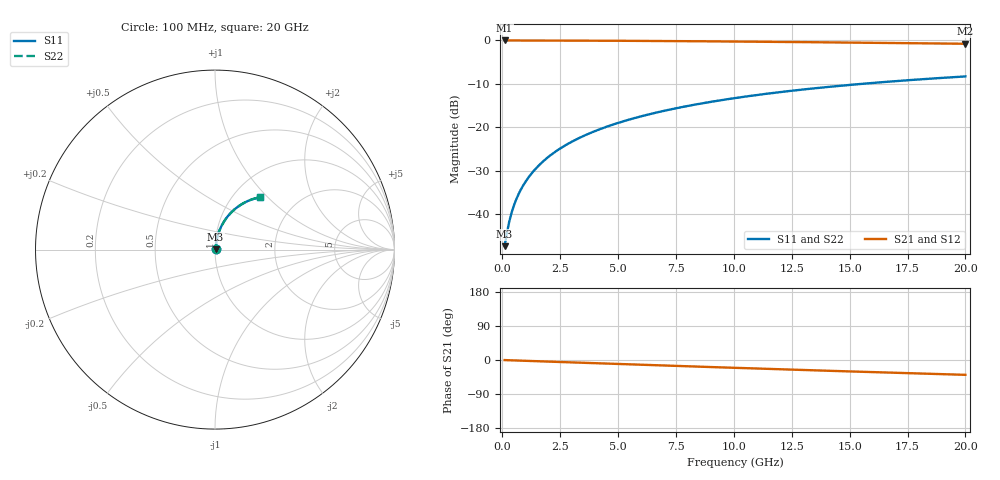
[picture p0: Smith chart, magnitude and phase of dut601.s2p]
! Touchstone file exported from HFSS 2026.1.0
!  File:  C:/ffzhzh/LocalFiles/Ansys_Project_Files/temp_train_BSMRDL_601_1783016065_46388.aedt
!  Generated:  02:15:50 AM Jul  3, 2026
!  Design:  BSMRDL
!  Project:  temp_train_BSMRDL_601_1783016065_46388
! Variables:
!  h_bsmrdl = 2.83um
!  h_ox = 20um
!  h_rdl = 5um
!  h_sub = 80um
!  h_tmrdl = 5um
!  h_tsv = 80um
!  h_via = 3um
!  l_bsmrdl = 543.29um
!  l_sub = 943.29um
!  l_tmrdl = 200um
!  m_sub = 200um
!  pitch = 48.88um
!  r_tsv = 6um
!  s_tmrdl = 10um
!  w_bsmrdl = 20.81um
!  w_sub = 500um
!  w_tmrdl = 12um
!  x_tsv_center1 = 206um
!  x_tsv_center2 = 770.1um
!  x_tsv_center3 = 982.1um
!  x_tsv_center4 = 1546.2um
!  x_tsv_center5 = 1758.2um
!  x_tsv_center6 = 2322.3um
# GHz S MA R 50.000000
! Terminal data exported
! Port[1] = BSM_RDL1_1_T1
! Port[2] = BSM_RDL1_1_T2
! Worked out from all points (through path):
!   200 points, 100 MHz to 20 GHz, reference 50 ohm
!   highest |S21| = -0.03 dB at 100 MHz (marker M1); lowest = -0.8 dB at 20 GHz (marker M2)
!   group delay of S21, straight-line fit = 5.45 ps
!   lowest |S11| = -47.4 dB at 100 MHz (marker M3), VSWR 1.01, Z = 50.4 + j0.248 ohm
!   |S11| at or under -10 dB: start of sweep to 15.57 GHz
!   |S22| runs from -47.4 to -8.3 dB; largest |S21 - S12| = 2.8e-15
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0.1  0.004281 35.1  0.9965 -0.2  0.9965 -0.2  0.004281 35.1
! Gamma 0 0 0 0
! Port Impedance 50 0 50 0
0.2  0.006087 53.3  0.9964 -0.4  0.9964 -0.4  0.006087 53.3
0.3  0.008186 62.2  0.9962 -0.7  0.9962 -0.7  0.008186 62.2
0.4  0.01036 67.2  0.9961 -0.9  0.9961 -0.9  0.01036 67.2
0.5  0.01254 70.4  0.9959 -1.1  0.9959 -1.1  0.01254 70.4
0.6  0.01473 72.6  0.9958 -1.3  0.9958 -1.3  0.01473 72.6
0.8  0.01912 75.5  0.9956 -1.7  0.9956 -1.7  0.01912 75.5
1.1  0.02574 77.8  0.9953 -2.3  0.9953 -2.3  0.02574 77.8
1.3  0.03017 78.7  0.9951 -2.8  0.9951 -2.8  0.03017 78.7
1.6  0.03685 79.5  0.9948 -3.4  0.9948 -3.4  0.03685 79.5
2.1  0.04801 80.0  0.9942 -4.4  0.9942 -4.4  0.04801 80.0
2.7  0.0614 79.8  0.9933 -5.7  0.9933 -5.7  0.0614 79.8
3.5  0.07917 79.0  0.9918 -7.4  0.9918 -7.4  0.07917 79.0
4.2  0.09461 78.0  0.9902 -8.8  0.9902 -8.8  0.09461 78.0
5  0.1121 76.7  0.9881 -10.5  0.9881 -10.5  0.1121 76.7
5.9  0.1315 75.1  0.9854 -12.3  0.9854 -12.3  0.1315 75.1
6.8  0.1506 73.4  0.9823 -14.2  0.9823 -14.2  0.1506 73.4
8.3  0.1816 70.6  0.9764 -17.2  0.9764 -17.2  0.1817 70.6
10.1  0.2175 67.2  0.9683 -20.8  0.9683 -20.8  0.2175 67.2
13.4  0.2791 61.0  0.9513 -27.1  0.9513 -27.1  0.2791 61.0
16.7  0.3347 55.1  0.9325 -33.3  0.9325 -33.3  0.3347 55.1
20  0.3842 49.3  0.9128 -39.1  0.9128 -39.1  0.3842 49.3
